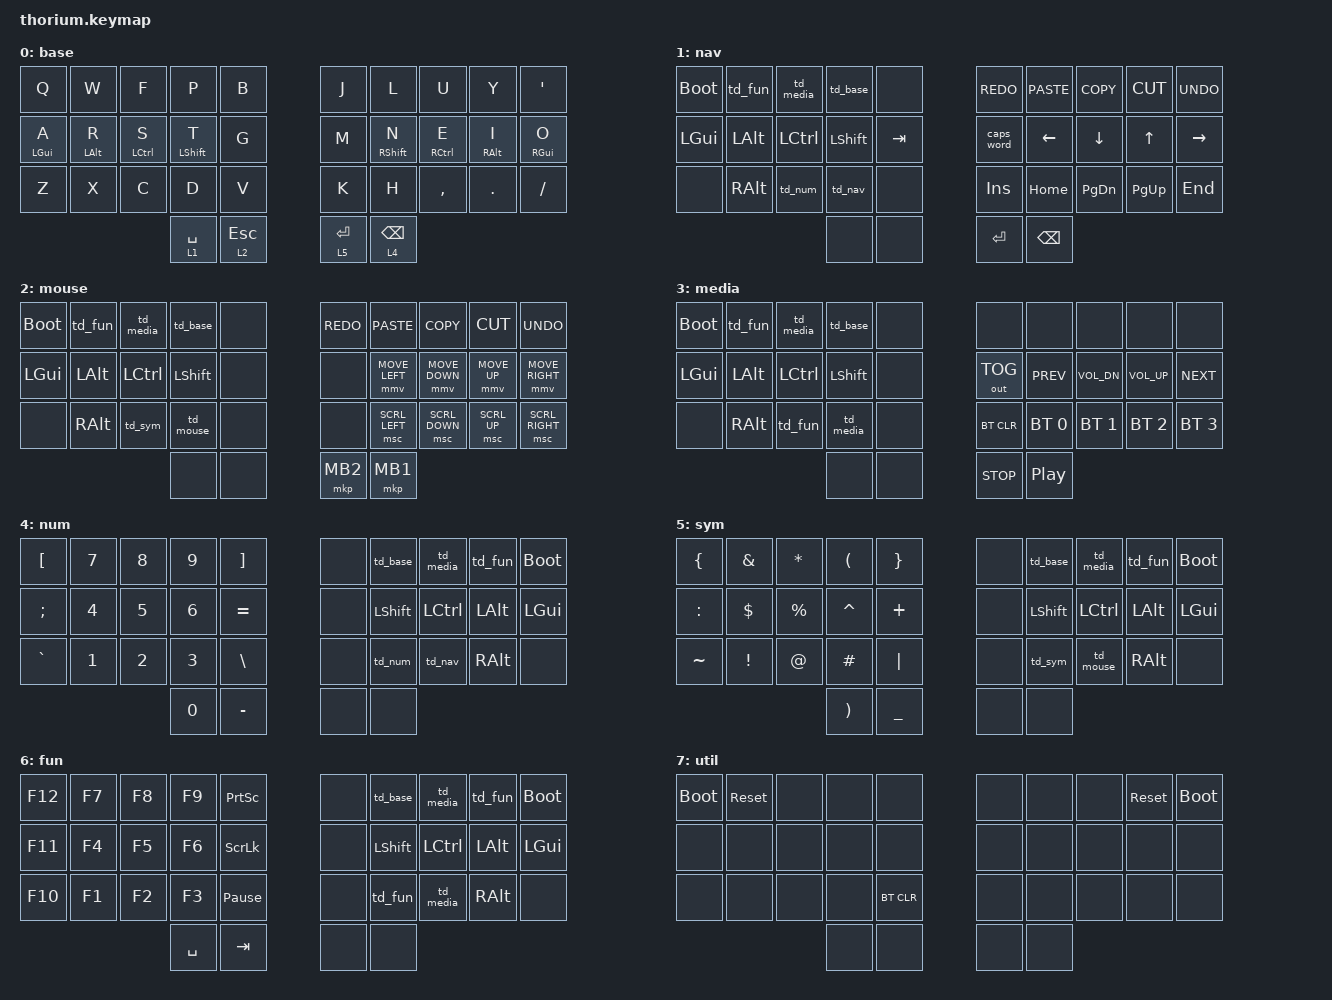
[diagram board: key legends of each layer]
#pragma once

#include <behaviors.dtsi>
#include <dt-bindings/zmk/keys.h>
#include <dt-bindings/zmk/bt.h>
#include <dt-bindings/zmk/outputs.h>
#include <dt-bindings/zmk/pointing.h>

/* Miryoku tap-dance: single tap = &none, double tap = &to LAYER */

#define MIRYOKU_TD(NAME, LAYER) \
    NAME: NAME { \
        compatible = "zmk,behavior-tap-dance"; \
        #binding-cells = <0>; \
        tapping-term-ms = <200>; \
        bindings = <&none>, <&to LAYER>; \
    };

/* device tree */

&mt {
    tapping-term-ms = <200>;
    quick-tap-ms = <200>;
    flavor = "balanced";
};

&lt {
    tapping-term-ms = <200>;
    quick-tap-ms = <200>;
};

/ {
    behaviors {
        MIRYOKU_TD(td_base, 0)
        MIRYOKU_TD(td_nav, 1)
        MIRYOKU_TD(td_mouse, 2)
        MIRYOKU_TD(td_media, 3)
        MIRYOKU_TD(td_num, 4)
        MIRYOKU_TD(td_sym, 5)
        MIRYOKU_TD(td_fun, 6)
    };

    combos {
        compatible = "zmk,combos";

        lang_toggle_combo {
            bindings = <&kp LANG1>;
            key-positions = <30 33>;
        };

        caps_word_combo {
            bindings = <&caps_word>;
            key-positions = <31 32>;
            layers = <0>;
        };

        util_left {
            bindings = <&mo 7>;
            key-positions = <30 31>;
            layers = <0>;
            timeout-ms = <50>;
        };

        util_right {
            bindings = <&mo 7>;
            key-positions = <32 33>;
            layers = <0>;
            timeout-ms = <50>;
        };
    };

    keymap {
        compatible = "zmk,keymap";

        // 0: BASE (Colemak-DH)

        base {
            bindings = <
&kp Q       &kp W       &kp F        &kp P        &kp B        &kp J       &kp L        &kp U        &kp Y       &kp SQT
&mt LGUI A  &mt LALT R  &mt LCTRL S  &mt LSHFT T  &kp G        &kp M       &mt RSHFT N  &mt RCTRL E  &mt RALT I  &mt RGUI O
&kp Z       &kp X       &kp C        &kp D        &kp V        &kp K       &kp H        &kp COMMA    &kp DOT     &kp SLASH
                                      &lt 1 SPACE  &lt 2 ESC    &lt 5 ENTER &lt 4 BSPC
            >;
        };

        // 1: NAV (hold pos 30 / SPACE)

        nav {
            bindings = <
&bootloader  &td_fun      &td_media    &td_base     &none        &kp K_REDO  &kp K_PASTE  &kp K_COPY   &kp K_CUT   &kp K_UNDO
&kp LGUI     &kp LALT     &kp LCTRL    &kp LSHFT    &kp TAB      &caps_word  &kp LEFT     &kp DOWN     &kp UP      &kp RIGHT
&none        &kp RALT     &td_num      &td_nav      &none        &kp INS     &kp HOME     &kp PG_DN    &kp PG_UP   &kp END
                                        &none        &none        &kp ENTER   &kp BSPC
            >;
        };

        // 2: MOUSE (hold pos 31 / ESC)

        mouse {
            bindings = <
&bootloader  &td_fun      &td_media    &td_base     &none        &kp K_REDO  &kp K_PASTE  &kp K_COPY      &kp K_CUT      &kp K_UNDO
&kp LGUI     &kp LALT     &kp LCTRL    &kp LSHFT    &none        &none       &mmv MOVE_LEFT &mmv MOVE_DOWN &mmv MOVE_UP   &mmv MOVE_RIGHT
&none        &kp RALT     &td_sym      &td_mouse    &none        &none       &msc SCRL_LEFT &msc SCRL_DOWN &msc SCRL_UP   &msc SCRL_RIGHT
                                        &none        &none        &mkp MB2    &mkp MB1
            >;
        };

        // 3: MEDIA (via &to 3)

        media {
            bindings = <
&bootloader  &td_fun      &td_media    &td_base     &none        &none           &none           &none           &none           &none
&kp LGUI     &kp LALT     &kp LCTRL    &kp LSHFT    &none        &out OUT_TOG    &kp C_PREV      &kp C_VOL_DN    &kp C_VOL_UP    &kp C_NEXT
&none        &kp RALT     &td_fun      &td_media    &none        &bt BT_CLR      &bt BT_SEL 0    &bt BT_SEL 1    &bt BT_SEL 2    &bt BT_SEL 3
                                        &none        &none        &kp C_STOP      &kp C_PP
            >;
        };

        // 4: NUM (hold pos 33 / BSPC)

        num {
            bindings = <
&kp LBKT     &kp N7       &kp N8       &kp N9       &kp RBKT     &none       &td_base     &td_media    &td_fun     &bootloader
&kp SEMI     &kp N4       &kp N5       &kp N6       &kp EQUAL    &none       &kp LSHFT    &kp LCTRL    &kp LALT    &kp LGUI
&kp GRAVE    &kp N1       &kp N2       &kp N3       &kp BSLH     &none       &td_num      &td_nav      &kp RALT    &none
                                        &kp N0       &kp MINUS    &none       &none
            >;
        };

        // 5: SYM (hold pos 32 / ENTER)

        sym {
            bindings = <
&kp LBRC     &kp AMPS     &kp ASTRK    &kp LPAR     &kp RBRC     &none       &td_base     &td_media    &td_fun     &bootloader
&kp COLON    &kp DLLR     &kp PRCNT    &kp CARET    &kp PLUS     &none       &kp LSHFT    &kp LCTRL    &kp LALT    &kp LGUI
&kp TILDE    &kp EXCL     &kp AT       &kp HASH     &kp PIPE     &none       &td_sym      &td_mouse    &kp RALT    &none
                                        &kp RPAR     &kp UNDER    &none       &none
            >;
        };

        // 6: FUN (via &to 6)

        fun {
            bindings = <
&kp F12      &kp F7       &kp F8       &kp F9       &kp PSCRN    &none       &td_base     &td_media    &td_fun     &bootloader
&kp F11      &kp F4       &kp F5       &kp F6       &kp SLCK     &none       &kp LSHFT    &kp LCTRL    &kp LALT    &kp LGUI
&kp F10      &kp F1       &kp F2       &kp F3       &kp PAUSE_BREAK &none    &td_fun      &td_media    &kp RALT    &none
                                        &kp SPACE    &kp TAB      &none       &none
            >;
        };

        // 7: UTIL (momentary via combo)

        util {
            bindings = <
&bootloader  &sys_reset   &none        &none        &none        &none       &none        &none        &sys_reset  &bootloader
&none        &none        &none        &none        &none        &none       &none        &none        &none       &none
&none        &none        &none        &none        &bt BT_CLR   &none       &none        &none        &none       &none
                                        &none        &none        &none       &none
            >;
        };
    };
};
